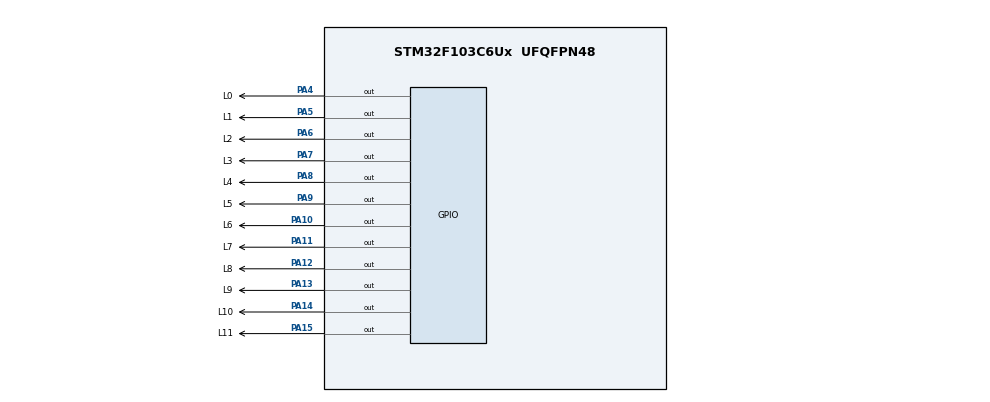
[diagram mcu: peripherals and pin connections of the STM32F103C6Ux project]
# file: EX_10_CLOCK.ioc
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Mcu.Family=STM32F1
Mcu.Name=STM32F103C6Ux
Mcu.Package=UFQFPN48
NVIC.PriorityGroup=NVIC_PRIORITYGROUP_4
PA10.GPIO_Label=L6
PA10.Signal=GPIO_Output
PA11.GPIO_Label=L7
PA11.Signal=GPIO_Output
PA12.GPIO_Label=L8
PA12.Signal=GPIO_Output
PA13.GPIO_Label=L9
PA13.Signal=GPIO_Output
PA14.GPIO_Label=L10
PA14.Signal=GPIO_Output
PA15.GPIO_Label=L11
PA15.Signal=GPIO_Output
PA4.GPIO_Label=L0
PA4.Signal=GPIO_Output
PA5.GPIO_Label=L1
PA5.Signal=GPIO_Output
PA6.GPIO_Label=L2
PA6.Signal=GPIO_Output
PA7.GPIO_Label=L3
PA7.Signal=GPIO_Output
PA8.GPIO_Label=L4
PA8.Signal=GPIO_Output
PA9.GPIO_Label=L5
PA9.Signal=GPIO_Output
ProjectManager.HeapSize=0x200
ProjectManager.StackSize=0x400
ProjectManager.TargetToolchain=STM32CubeIDE
RCC.APB1Freq_Value=8000000
RCC.APB2Freq_Value=8000000
board=custom

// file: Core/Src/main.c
/* USER CODE BEGIN Header */
/**
  ******************************************************************************
  * @file           : main.c
  * @brief          : Main program body
  ******************************************************************************
  * @attention
  *
  * Copyright (c) 2022 STMicroelectronics.
  * All rights reserved.
  *
  * This software is licensed under terms that can be found in the LICENSE file
  * in the root directory of this software component.
  * If no LICENSE file comes with this software, it is provided AS-IS.
  *
  ******************************************************************************
  */
/* USER CODE END Header */
#include "main.h"

void SystemClock_Config(void);
static void MX_GPIO_Init(void);

/* USER CODE BEGIN 0 */
void clearAllClock() {
	  HAL_GPIO_WritePin(GPIOA,
			  L1_Pin | L2_Pin | L3_Pin |
			  L4_Pin | L5_Pin | L6_Pin |
			  L7_Pin | L8_Pin | L9_Pin |
			  L10_Pin | L11_Pin | L0_Pin, GPIO_PIN_SET);
}

void setNumberOnClock(int num) {
	if (num<0 || num >11) return;
	HAL_GPIO_WritePin(GPIOA, L0_Pin << num, GPIO_PIN_RESET);
}

void clearNumberOnClock(int num) {
	if (num<0 || num >11) return;
	HAL_GPIO_WritePin(GPIOA, L0_Pin << num, GPIO_PIN_SET);
}
/* USER CODE END 0 */

int main(void)
{

  /* MCU Configuration--------------------------------------------------------*/

  /* Reset of all peripherals, Initializes the Flash interface and the Systick. */
  HAL_Init();

  /* Configure the system clock */
  SystemClock_Config();

  /* Initialize all configured peripherals */
  MX_GPIO_Init();
  /* USER CODE BEGIN 2 */
  int sec=0, min=0, hrs=0;
  clearAllClock();
  HAL_GPIO_WritePin(GPIOA, L0_Pin, GPIO_PIN_RESET);
  /* USER CODE END 2 */

  /* Infinite loop */
  while (1)
  {
    /* USER CODE BEGIN 3 */
	  HAL_Delay(10);
	  if (sec == 60) {
		  sec = -1;
		  clearNumberOnClock(11);
		  clearNumberOnClock(min/5);
		  min++;
	  }
	  if (min == 60) {
		  min = 0;
		  clearNumberOnClock(11);
		  clearNumberOnClock(hrs++);
	  }
	  if (hrs == 12) {
		  hrs = 0;
		  clearNumberOnClock(11);
	  }
	  clearNumberOnClock(sec/5);
	  sec++;
	  setNumberOnClock(sec/5);
	  setNumberOnClock(min/5);
	  setNumberOnClock(hrs);
  }
  /* USER CODE END 3 */
}

void SystemClock_Config(void)
{
  RCC_OscInitTypeDef RCC_OscInitStruct = {0};
  RCC_ClkInitTypeDef RCC_ClkInitStruct = {0};

  /** Initializes the RCC Oscillators according to the specified parameters
  * in the RCC_OscInitTypeDef structure.
  */
  RCC_OscInitStruct.OscillatorType = RCC_OSCILLATORTYPE_HSI;
  RCC_OscInitStruct.HSIState = RCC_HSI_ON;
  RCC_OscInitStruct.HSICalibrationValue = RCC_HSICALIBRATION_DEFAULT;
  RCC_OscInitStruct.PLL.PLLState = RCC_PLL_NONE;
  if (HAL_RCC_OscConfig(&RCC_OscInitStruct) != HAL_OK)
  {
    Error_Handler();
  }

  /** Initializes the CPU, AHB and APB buses clocks
  */
  RCC_ClkInitStruct.ClockType = RCC_CLOCKTYPE_HCLK|RCC_CLOCKTYPE_SYSCLK
                              |RCC_CLOCKTYPE_PCLK1|RCC_CLOCKTYPE_PCLK2;
  RCC_ClkInitStruct.SYSCLKSource = RCC_SYSCLKSOURCE_HSI;
  RCC_ClkInitStruct.AHBCLKDivider = RCC_SYSCLK_DIV1;
  RCC_ClkInitStruct.APB1CLKDivider = RCC_HCLK_DIV1;
  RCC_ClkInitStruct.APB2CLKDivider = RCC_HCLK_DIV1;

  if (HAL_RCC_ClockConfig(&RCC_ClkInitStruct, FLASH_LATENCY_0) != HAL_OK)
  {
    Error_Handler();
  }
}

static void MX_GPIO_Init(void)
{
  GPIO_InitTypeDef GPIO_InitStruct = {0};

  /* GPIO Ports Clock Enable */
  __HAL_RCC_GPIOA_CLK_ENABLE();

  /*Configure GPIO pin Output Level */
  HAL_GPIO_WritePin(GPIOA, L0_Pin|L1_Pin|L2_Pin|L3_Pin
                          |L4_Pin|L5_Pin|L6_Pin|L7_Pin
                          |L8_Pin|L9_Pin|L10_Pin|L11_Pin, GPIO_PIN_RESET);

  /*Configure GPIO pins : L0_Pin L1_Pin L2_Pin L3_Pin
                           L4_Pin L5_Pin L6_Pin L7_Pin
                           L8_Pin L9_Pin L10_Pin L11_Pin */
  GPIO_InitStruct.Pin = L0_Pin|L1_Pin|L2_Pin|L3_Pin
                          |L4_Pin|L5_Pin|L6_Pin|L7_Pin
                          |L8_Pin|L9_Pin|L10_Pin|L11_Pin;
  GPIO_InitStruct.Mode = GPIO_MODE_OUTPUT_PP;
  GPIO_InitStruct.Pull = GPIO_NOPULL;
  GPIO_InitStruct.Speed = GPIO_SPEED_FREQ_LOW;
  HAL_GPIO_Init(GPIOA, &GPIO_InitStruct);

}

void Error_Handler(void)
{
  __disable_irq();
  while (1)
  {
  }
}
